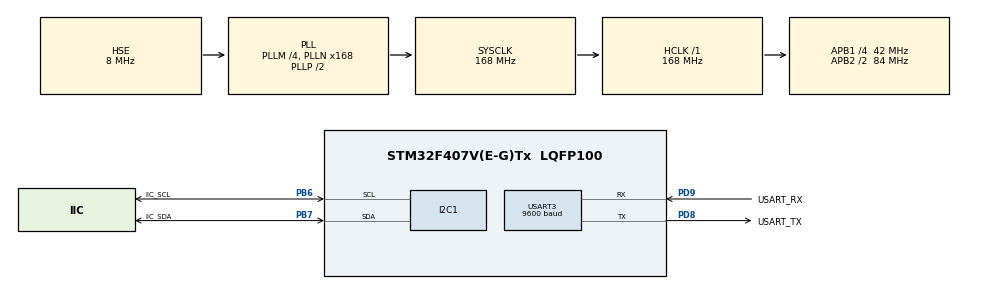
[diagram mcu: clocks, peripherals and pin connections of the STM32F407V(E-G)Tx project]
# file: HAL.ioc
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I2C1.I2C_Mode=I2C_Fast
Mcu.Family=STM32F4
Mcu.Name=STM32F407V(E-G)Tx
Mcu.Package=LQFP100
NVIC.PriorityGroup=NVIC_PRIORITYGROUP_4
NVIC.RCC_IRQn=true\:0\:0\:false\:false\:true\:true\:false
PA13.Mode=Serial_Wire
PA13.Signal=SYS_JTMS-SWDIO
PA14.Mode=Serial_Wire
PA14.Signal=SYS_JTCK-SWCLK
PB6.GPIO_Label=IIC_SCL
PB6.GPIO_PuPdOD=GPIO_PULLUP
PB6.Mode=I2C
PB6.Signal=I2C1_SCL
PB7.GPIO_Label=IIC_SDA
PB7.GPIO_PuPdOD=GPIO_PULLUP
PB7.Mode=I2C
PB7.Signal=I2C1_SDA
PD8.GPIO_Label=USART_TX
PD8.GPIO_PuPd=GPIO_PULLUP
PD8.Mode=Asynchronous
PD8.Signal=USART3_TX
PD9.GPIO_Label=USART_RX
PD9.GPIO_PuPd=GPIO_PULLUP
PD9.Mode=Asynchronous
PD9.Signal=USART3_RX
PH0-OSC_IN.Mode=HSE-External-Oscillator
PH0-OSC_IN.Signal=RCC_OSC_IN
PH1-OSC_OUT.Mode=HSE-External-Oscillator
PH1-OSC_OUT.Signal=RCC_OSC_OUT
ProjectManager.HeapSize=0x200
ProjectManager.StackSize=0x400
ProjectManager.TargetToolchain=MDK-ARM V5
RCC.48MHZClocksFreq_Value=84000000
RCC.AHBFreq_Value=168000000
RCC.APB1CLKDivider=RCC_HCLK_DIV4
RCC.APB1Freq_Value=42000000
RCC.APB1TimFreq_Value=84000000
RCC.APB2CLKDivider=RCC_HCLK_DIV2
RCC.APB2Freq_Value=84000000
RCC.APB2TimFreq_Value=168000000
RCC.CortexFreq_Value=168000000
RCC.HCLKFreq_Value=168000000
RCC.HSE_VALUE=8000000
RCC.HSI_VALUE=16000000
RCC.LSE_VALUE=32768
RCC.PLLM=4
RCC.PLLN=168
RCC.PLLSourceVirtual=RCC_PLLSOURCE_HSE
RCC.SYSCLKFreq_VALUE=168000000
RCC.SYSCLKSource=RCC_SYSCLKSOURCE_PLLCLK
RCC.VCOOutputFreq_Value=336000000
USART3.BaudRate=9600
USART3.VirtualMode=VM_ASYNC
board=custom

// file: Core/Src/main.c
/* USER CODE BEGIN Header */
/**
  ******************************************************************************
  * @file           : main.c
  * @brief          : Main program body
  ******************************************************************************
  * @attention
  *
  * <h2><center>&copy; Copyright (c) 2020 STMicroelectronics.
  * All rights reserved.</center></h2>
  *
  * This software component is licensed by ST under BSD 3-Clause license,
  * the "License"; You may not use this file except in compliance with the
  * License. You may obtain a copy of the License at:
  *                        opensource.org/licenses/BSD-3-Clause
  *
  ******************************************************************************
  */
/* USER CODE END Header */
#include "main.h"
#include "i2c.h"
#include "usart.h"
#include "gpio.h"

/* USER CODE BEGIN Includes */
#include "apps.h"
#include "stdio.h"
/* USER CODE END Includes */

/* USER CODE BEGIN PV */
/**********************************姿态、高度解算相关******************************************************/
uint8_t gyroOffset, accOffset; //用于零偏校准
Acc_t acc, offsetAcc; //原始数据、零偏数据
Gyro_t gyro, offsetGyro; //原始数据、零偏数据
Mag_t mag; //原始数据
Float_t fGyro; //角速度数据（rad）
Angle_t angle; //姿态解算-角度值
uint8_t sendBuf[50];//发送缓存
uint16_t PWM_IN_CH[4];
OS_STK		Task_ComStack[TASK_COM_STK_SIZE];
OS_STK		Task_AHRSStack[TASK_COM_STK_SIZE];
/* USER CODE END PV */

void SystemClock_Config(void);

int main(void)
{

  /* MCU Configuration--------------------------------------------------------*/

  /* Reset of all peripherals, Initializes the Flash interface and the Systick. */
  HAL_Init();

  /* Configure the system clock */
  SystemClock_Config();

  /* Initialize all configured peripherals */
  MX_GPIO_Init();
  MX_I2C1_Init();
  MX_USART3_UART_Init();
  /* USER CODE BEGIN 2 */
	BSP_Init();
	Quat_Init();
	Open_Calib();
	OSInit();
	OSTaskCreate(Task_COM,(void *)0,(OS_STK *)&Task_ComStack[TASK_COM_STK_SIZE-1],TASK_COM_PRIO );
	OSTaskCreate(Task_AHRS,(void *)0,(OS_STK *)&Task_AHRSStack[TASK_COM_STK_SIZE-1],TASK_AHRS_PRIO );
	OSStart();
  /* USER CODE END 2 */

  /* Infinite loop */
  while (1)
  {

    /* USER CODE BEGIN 3 */
//			GY86_Read();
//			HAL_Delay(0xffff);
//			Send_Senser(acc.x, acc.y, acc.z, gyro.x * RAW_TO_ANGLE, gyro.y * RAW_TO_ANGLE, gyro.z * RAW_TO_ANGLE, mag.x, mag.y, mag.z); //发送传感器原始数据帧

  }
  /* USER CODE END 3 */
}

void SystemClock_Config(void)
{
  RCC_OscInitTypeDef RCC_OscInitStruct = {0};
  RCC_ClkInitTypeDef RCC_ClkInitStruct = {0};

  /** Configure the main internal regulator output voltage
  */
  __HAL_RCC_PWR_CLK_ENABLE();
  __HAL_PWR_VOLTAGESCALING_CONFIG(PWR_REGULATOR_VOLTAGE_SCALE1);
  /** Initializes the RCC Oscillators according to the specified parameters
  * in the RCC_OscInitTypeDef structure.
  */
  RCC_OscInitStruct.OscillatorType = RCC_OSCILLATORTYPE_HSE;
  RCC_OscInitStruct.HSEState = RCC_HSE_ON;
  RCC_OscInitStruct.PLL.PLLState = RCC_PLL_ON;
  RCC_OscInitStruct.PLL.PLLSource = RCC_PLLSOURCE_HSE;
  RCC_OscInitStruct.PLL.PLLM = 4;
  RCC_OscInitStruct.PLL.PLLN = 168;
  RCC_OscInitStruct.PLL.PLLP = RCC_PLLP_DIV2;
  RCC_OscInitStruct.PLL.PLLQ = 4;
  if (HAL_RCC_OscConfig(&RCC_OscInitStruct) != HAL_OK)
  {
    Error_Handler();
  }
  /** Initializes the CPU, AHB and APB buses clocks
  */
  RCC_ClkInitStruct.ClockType = RCC_CLOCKTYPE_HCLK|RCC_CLOCKTYPE_SYSCLK
                              |RCC_CLOCKTYPE_PCLK1|RCC_CLOCKTYPE_PCLK2;
  RCC_ClkInitStruct.SYSCLKSource = RCC_SYSCLKSOURCE_PLLCLK;
  RCC_ClkInitStruct.AHBCLKDivider = RCC_SYSCLK_DIV1;
  RCC_ClkInitStruct.APB1CLKDivider = RCC_HCLK_DIV4;
  RCC_ClkInitStruct.APB2CLKDivider = RCC_HCLK_DIV2;

  if (HAL_RCC_ClockConfig(&RCC_ClkInitStruct, FLASH_LATENCY_5) != HAL_OK)
  {
    Error_Handler();
  }
}

void Error_Handler(void)
{
}

/************************ (C) COPYRIGHT STMicroelectronics *****END OF FILE****/
